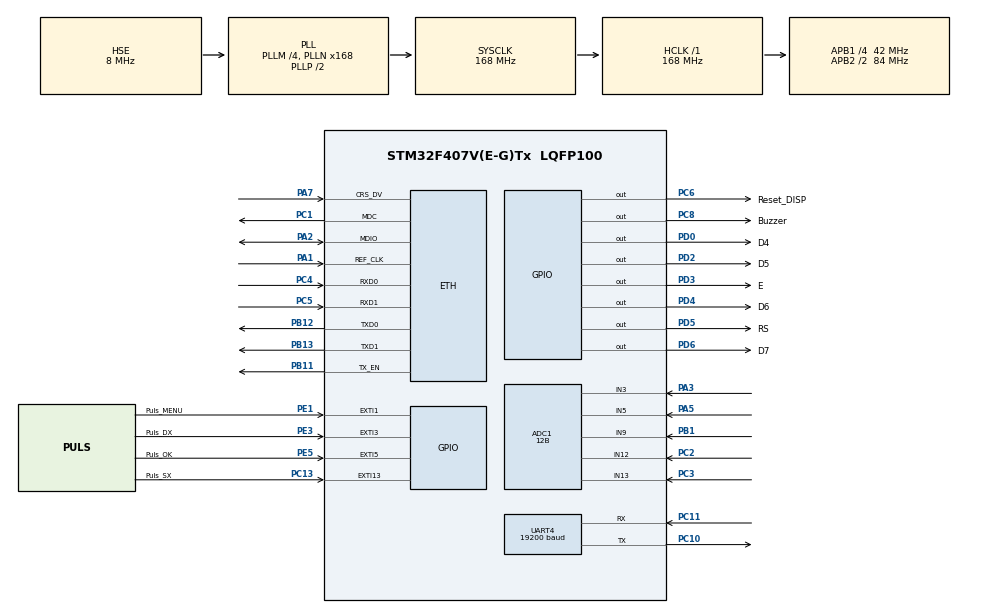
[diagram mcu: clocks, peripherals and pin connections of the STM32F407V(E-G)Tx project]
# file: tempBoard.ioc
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ADC1.Channel-0\#ChannelRegularConversion=ADC_CHANNEL_12
ADC1.Channel-1\#ChannelRegularConversion=ADC_CHANNEL_13
ADC1.Channel-2\#ChannelRegularConversion=ADC_CHANNEL_3
ADC1.Channel-3\#ChannelRegularConversion=ADC_CHANNEL_5
ADC1.Channel-4\#ChannelRegularConversion=ADC_CHANNEL_9
ADC1.ClockPrescaler=ADC_CLOCK_SYNC_PCLK_DIV4
ADC1.ContinuousConvMode=ENABLE
ADC1.DMAContinuousRequests=ENABLE
ADC1.DataAlign=ADC_DATAALIGN_RIGHT
ADC1.DiscontinuousConvMode=DISABLE
ADC1.EOCSelection=ADC_EOC_SINGLE_CONV
ADC1.EnableAnalogWatchDog=false
ADC1.ExternalTrigConv=ADC_SOFTWARE_START
ADC1.ExternalTrigConvEdge=ADC_EXTERNALTRIGCONVEDGE_NONE
ADC1.InjNumberOfConversion=0
ADC1.NbrOfConversion=5
ADC1.NbrOfConversionFlag=1
ADC1.Rank-0\#ChannelRegularConversion=1
ADC1.Rank-1\#ChannelRegularConversion=2
ADC1.Rank-2\#ChannelRegularConversion=3
ADC1.Rank-3\#ChannelRegularConversion=4
ADC1.Rank-4\#ChannelRegularConversion=5
ADC1.Resolution=ADC_RESOLUTION_12B
ADC1.SamplingTime-0\#ChannelRegularConversion=ADC_SAMPLETIME_480CYCLES
ADC1.SamplingTime-1\#ChannelRegularConversion=ADC_SAMPLETIME_480CYCLES
ADC1.SamplingTime-2\#ChannelRegularConversion=ADC_SAMPLETIME_480CYCLES
ADC1.SamplingTime-3\#ChannelRegularConversion=ADC_SAMPLETIME_480CYCLES
ADC1.SamplingTime-4\#ChannelRegularConversion=ADC_SAMPLETIME_480CYCLES
ADC1.ScanConvMode=ENABLE
ADC1.master=1
Dma.ADC1.0.Direction=DMA_PERIPH_TO_MEMORY
Dma.ADC1.0.FIFOMode=DMA_FIFOMODE_DISABLE
Dma.ADC1.0.Instance=DMA2_Stream0
Dma.ADC1.0.MemDataAlignment=DMA_MDATAALIGN_WORD
Dma.ADC1.0.MemInc=DMA_MINC_ENABLE
Dma.ADC1.0.Mode=DMA_CIRCULAR
Dma.ADC1.0.PeriphDataAlignment=DMA_PDATAALIGN_WORD
Dma.ADC1.0.PeriphInc=DMA_PINC_DISABLE
Dma.ADC1.0.Priority=DMA_PRIORITY_LOW
Dma.Request0=ADC1
ETH.MediaInterface=ETH_MEDIA_INTERFACE_RMII
LWIP.LWIP_DBG_MIN_LEVEL=LWIP_DBG_MASK_LEVEL
LWIP.LWIP_DBG_TYPES_ON=LWIP_DBG_OFF
LWIP.LWIP_HTTPD=1
LWIP.LWIP_HTTPD_SSI=1
LWIP.LWIP_HTTPD_SSI_RAW=0
LWIP.Version=v2.0.3_Cube
Mcu.Family=STM32F4
Mcu.Name=STM32F407V(E-G)Tx
Mcu.Package=LQFP100
NVIC.DMA2_Stream0_IRQn=true\:0\:0\:false\:false\:true\:false\:true
NVIC.ETH_IRQn=true\:0\:0\:false\:false\:true\:true\:true
NVIC.EXTI15_10_IRQn=true\:0\:0\:false\:true\:true\:6\:true\:true
NVIC.EXTI1_IRQn=true\:0\:0\:false\:true\:true\:3\:true\:true
NVIC.EXTI3_IRQn=true\:0\:0\:false\:true\:true\:4\:true\:true
NVIC.EXTI9_5_IRQn=true\:0\:0\:false\:true\:true\:2\:true\:true
NVIC.PriorityGroup=NVIC_PRIORITYGROUP_0
NVIC.TIM2_IRQn=true\:0\:0\:false\:true\:true\:5\:true\:true
NVIC.UART4_IRQn=true\:0\:0\:false\:true\:true\:1\:true\:true
PA1.Mode=RMII
PA1.Signal=ETH_REF_CLK
PA2.Mode=RMII
PA2.Signal=ETH_MDIO
PA3.Signal=ADCx_IN3
PA5.Signal=ADCx_IN5
PA7.Mode=RMII
PA7.Signal=ETH_CRS_DV
PB1.Signal=ADCx_IN9
PB11.Mode=RMII
PB11.Signal=ETH_TX_EN
PB12.Mode=RMII
PB12.Signal=ETH_TXD0
PB13.Mode=RMII
PB13.Signal=ETH_TXD1
PC1.Mode=RMII
PC1.Signal=ETH_MDC
PC10.Mode=Asynchronous
PC10.Signal=UART4_TX
PC11.Mode=Asynchronous
PC11.Signal=UART4_RX
PC13-ANTI_TAMP.GPIO_Label=Puls_SX
PC13-ANTI_TAMP.Signal=GPXTI13
PC2.Signal=ADCx_IN12
PC3.Signal=ADCx_IN13
PC4.Mode=RMII
PC4.Signal=ETH_RXD0
PC5.Mode=RMII
PC5.Signal=ETH_RXD1
PC6.GPIO_Label=Reset_DISP
PC6.Signal=GPIO_Output
PC8.GPIO_Label=Buzzer
PC8.Signal=GPIO_Output
PD0.GPIO_Label=D4
PD0.Signal=GPIO_Output
PD2.GPIO_Label=D5
PD2.Signal=GPIO_Output
PD3.GPIO_Label=E
PD3.Signal=GPIO_Output
PD4.GPIO_Label=D6
PD4.Signal=GPIO_Output
PD5.GPIO_Label=RS
PD5.Signal=GPIO_Output
PD6.GPIO_Label=D7
PD6.Signal=GPIO_Output
PE1.GPIO_Label=Puls_MENU
PE1.Signal=GPXTI1
PE3.GPIO_Label=Puls_DX
PE3.Signal=GPXTI3
PE5.GPIO_Label=Puls_OK
PE5.Signal=GPXTI5
PH0-OSC_IN.Mode=HSE-External-Oscillator
PH0-OSC_IN.Signal=RCC_OSC_IN
PH1-OSC_OUT.Mode=HSE-External-Oscillator
PH1-OSC_OUT.Signal=RCC_OSC_OUT
ProjectManager.HeapSize=0x200
ProjectManager.StackSize=0x400
ProjectManager.TargetToolchain=STM32CubeIDE
RCC.48MHZClocksFreq_Value=48000000
RCC.AHBFreq_Value=168000000
RCC.APB1CLKDivider=RCC_HCLK_DIV4
RCC.APB1Freq_Value=42000000
RCC.APB1TimFreq_Value=84000000
RCC.APB2CLKDivider=RCC_HCLK_DIV2
RCC.APB2Freq_Value=84000000
RCC.APB2TimFreq_Value=168000000
RCC.CortexFreq_Value=168000000
RCC.HCLKFreq_Value=168000000
RCC.HSE_VALUE=8000000
RCC.HSI_VALUE=16000000
RCC.LSE_VALUE=32768
RCC.PLLM=4
RCC.PLLN=168
RCC.PLLQ=7
RCC.PLLSourceVirtual=RCC_PLLSOURCE_HSE
RCC.SYSCLKFreq_VALUE=168000000
RCC.SYSCLKSource=RCC_SYSCLKSOURCE_PLLCLK
RCC.VCOOutputFreq_Value=336000000
SH.ADCx_IN12.0=ADC1_IN12,IN12
SH.ADCx_IN13.0=ADC1_IN13,IN13
SH.ADCx_IN3.0=ADC1_IN3,IN3
SH.ADCx_IN5.0=ADC1_IN5,IN5
SH.ADCx_IN9.0=ADC1_IN9,IN9
TIM2.Period=4999
TIM2.Prescaler=8399
UART4.BaudRate=19200
UART4.VirtualMode=Asynchronous
UART4.WordLength=WORDLENGTH_8B
VP_LWIP_VS_Enabled.Mode=Enabled
VP_TIM2_VS_ClockSourceINT.Mode=Internal
board=STM32F4DISCOVERY

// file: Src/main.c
/* USER CODE BEGIN Header */
/**
  ******************************************************************************
  * @file           : main.c
  * @brief          : Main program body
  ******************************************************************************
  * @attention
  *
  * <h2><center>&copy; Copyright (c) 2019 STMicroelectronics.
  * All rights reserved.</center></h2>
  *
  * This software component is licensed by ST under BSD 3-Clause license,
  * the "License"; You may not use this file except in compliance with the
  * License. You may obtain a copy of the License at:
  *                        opensource.org/licenses/BSD-3-Clause
  *
  ******************************************************************************
  */
/* USER CODE END Header */

#include "main.h"
#include "stm32f4xx_hal.h"
#include "lwip.h"

/* USER CODE BEGIN Includes */
#include <string.h>
#include "lwip/apps/httpd.h"
#include "LCD.h"

#define NUM_SENSORS (5)
#define CRITICAL_TEMP_DEFAULT (27)
#define CRITICAL_TEMP_MAX (40)
#define CRITICAL_TEMP_MIN (25)
#define TIMES_ARRAY_DIM (25)
#define NUM_SENSORS_MAX (NUM_SENSORS-1)
#define TIMES_ARRAY_DIM_MAX (TIMES_ARRAY_DIM-1)
#define UART_REFRESH_TIME_DEFAULT (5)

#define SX      (4)
#define DX      (8)
#define OK      (16)
#define MENU    (1)
#define IMP     (2)
#define ALARM   (32)
#define CRIT    (64)
#define MENUSX  (SX+MENU)
#define MENUDX  (DX+MENU)
#define MENUOK  (OK+MENU)
#define IMPSX   (SX+IMP)
#define IMPDX   (DX+IMP)
#define IMPOK   (OK+IMP)
#define CRITSX  (SX+CRIT)
#define CRITDX  (DX+CRIT)
#define CRITOK  (OK+CRIT)
#define ALARMOK (OK+ALARM)

#define MAINPAGE (0)
#define MENUPAGE (1)
#define UARTPAGE (2)
#define CRITPAGE (3)

#define GRADO (0xDF)
#define FRECCIA_DESTRA (0x7E)

/* USER CODE END Includes */

ADC_HandleTypeDef hadc1;
DMA_HandleTypeDef hdma_adc1;

TIM_HandleTypeDef htim2;

UART_HandleTypeDef huart4;

/* USER CODE BEGIN PV */
/* Private variables ---------------------------------------------------------*/
volatile uint8_t UARTready=0;
volatile uint8_t halfSec;
volatile uint8_t premuto;
volatile uint8_t tasto;
volatile uint32_t ADCVal[NUM_SENSORS];
uint32_t ADCValBuffer[NUM_SENSORS];
float temp[NUM_SENSORS];
const  char* tagSSI[NUM_SENSORS] = { "t1", "t2", "t3", "t4", "t5" };

/* USER CODE END PV */

void SystemClock_Config(void);
static void MX_GPIO_Init(void);
static void MX_DMA_Init(void);
static void MX_UART4_Init(void);
static void MX_TIM2_Init(void);
static void MX_ADC1_Init(void);
static void MX_NVIC_Init(void);

/* USER CODE BEGIN PFP */
/* Private function prototypes -----------------------------------------------*/

/* USER CODE END PFP */

/* USER CODE BEGIN 0 */

uint16_t handlerSSI(int iIndex, char *pcInsert, int iInsertLen){
    switch(iIndex){
      case 0:
        sprintf(pcInsert,"%.0f",temp[0]);
        return strlen(pcInsert);
      case 1:
        sprintf(pcInsert,"%.0f",temp[1]);
        return strlen(pcInsert);
      case 2:
        sprintf(pcInsert,"%.0f",temp[2]);
        return strlen(pcInsert);
      case 3:
        sprintf(pcInsert,"%.0f",temp[3]);
        return strlen(pcInsert);
      case 4:
        sprintf(pcInsert,"%.0f",temp[4]);
        return strlen(pcInsert);
      default:
        return 0;
    }
}

void initSSI(void){
    http_set_ssi_handler(handlerSSI, (const char**) tagSSI, NUM_SENSORS);
}

/* USER CODE END 0 */

int main(void)
{
  /* USER CODE BEGIN 1 */

  // COSTANTI

  const uint8_t times[TIMES_ARRAY_DIM] = {1,2,5,10,15,20,25,30,35,40,45,50,55,60,65,70,75,80,85,90,95,100,150,200,250};

  // VARIABILI

  char stringTemp[9]="00001000\0";
  uint8_t selImpostazioni=UARTPAGE;
  uint8_t sel_index=0;
  uint8_t zoneNumber=0;
  uint8_t secElapsed=0;
  uint8_t secElapsedOld=0;
  uint8_t halfSecOld=0;
  uint8_t isTimeToSendToUART=0;
  uint8_t UARTtime=UART_REFRESH_TIME_DEFAULT;
  uint8_t pagina=0;
  uint8_t numPagina=0;
  uint8_t inMenu=0;
  uint8_t inImp=0;
  uint8_t inAlarm=0;
  uint8_t inCrit=0;
  uint8_t silenzia=0;
  uint8_t sendRefreshTime=UART_REFRESH_TIME_DEFAULT;
  uint8_t times_index=2;
  uint8_t new_times_index=2;
  uint8_t criticalTemp=CRITICAL_TEMP_DEFAULT;
  uint8_t critTempBuf=CRITICAL_TEMP_DEFAULT;

  /* USER CODE END 1 */

  /* MCU Configuration----------------------------------------------------------*/

  /* Reset of all peripherals, Initializes the Flash interface and the Systick. */
  HAL_Init();

  /* Configure the system clock */
  SystemClock_Config();

  /* Initialize all configured peripherals */
  MX_GPIO_Init();
  MX_DMA_Init();
  MX_UART4_Init();
  MX_TIM2_Init();
  MX_LWIP_Init();
  MX_ADC1_Init();

  /* Initialize interrupts */
  MX_NVIC_Init();
  /* USER CODE BEGIN 2 */

  HAL_TIM_Base_Start_IT(&htim2);
  HAL_ADC_Start_DMA(&hadc1,ADCValBuffer,NUM_SENSORS);
  httpd_init();
  initSSI();

  // Resetto il display a 7 segmenti
  HAL_GPIO_WritePin(GPIOC, Reset_DISP_Pin, GPIO_PIN_SET);
  HAL_Delay(1000);
  HAL_GPIO_WritePin(GPIOC, Reset_DISP_Pin, GPIO_PIN_RESET);

  lcd.GPIOx=GPIOD;
  lcd.D4 = 0;
  lcd.D5 = 2;
  lcd.D6 = 4;
  lcd.D7 = 6;
  lcd.E  = 3;
  lcd.RS = 5;

  LCD_Init(DUAL_ROW,NORMAL_FONT,TEXT_LEFT_TO_RIGHT,TEXT_SHIFT_NO);
  LCD_curMode(CURSOR_OFF,BLINK_OFF);
  LCD_curSetHome();

  /* USER CODE END 2 */

  /* Infinite loop */
  /* USER CODE BEGIN WHILE */
  while (1)
  {

      MX_LWIP_Process();

      secElapsed = halfSec&1 ? secElapsed : halfSec>>1;

      if(secElapsedOld!=secElapsed){

          secElapsedOld=secElapsed;
          isTimeToSendToUART++;

          if(isTimeToSendToUART==UARTtime){

                // INVIO TRAMITE UART

                isTimeToSendToUART=0;

                sprintf(stringTemp,"00%03d%03d",zoneNumber+1,(uint8_t)temp[zoneNumber]);
                uint8_t i=0;
                while(stringTemp[i]!=0){
                  HAL_UART_Transmit_IT(&huart4, (uint8_t*)&stringTemp[i], 1);
                  while(!UARTready);
                  UARTready=0;
                  HAL_Delay(2);
                  i++;
                }

                zoneNumber++;
                zoneNumber%=NUM_SENSORS;
          }

      }

      if(halfSec!=halfSecOld){
          halfSecOld=halfSec;

          for(int i=0; i<NUM_SENSORS; i++){
              temp[i]=ADCVal[i]/40.95;
          }

          sel_index=selImpostazioni-2;

          // GESTIONE PULSANTI

          if(premuto){
              premuto=0;
              switch(tasto | inMenu | inImp | inCrit | inAlarm){
                case (SX):
                  numPagina--;
                  if(numPagina>NUM_SENSORS) numPagina=NUM_SENSORS_MAX;
                  break;
                case (DX):
                  numPagina++;
                  numPagina%=(NUM_SENSORS);
                  break;
                case (MENU):
                  pagina^=MENUPAGE; //fa il toggle della pagina in modo che appena si preme menu si torna alla pagina iniziale
                  break;
                case (MENUSX):
                  selImpostazioni--;
                  if(selImpostazioni<UARTPAGE) selImpostazioni=CRITPAGE;
                  break;
                case (MENUDX):
                  selImpostazioni++;
                  if(selImpostazioni>CRITPAGE) selImpostazioni=UARTPAGE;
                  break;
                case (MENUOK):
                  pagina=selImpostazioni;
                  break;
                case (IMPSX):
                  times_index--;
                  if(times_index>TIMES_ARRAY_DIM) times_index=TIMES_ARRAY_DIM_MAX;
                  sendRefreshTime=times[times_index];
                  break;
                case (IMPDX):
                  times_index++;
                  times_index%=TIMES_ARRAY_DIM;
                  sendRefreshTime=times[times_index];
                  break;
                case (IMPOK):
                  pagina=MAINPAGE;
                  UARTtime=sendRefreshTime;
                  new_times_index=times_index;
                  isTimeToSendToUART=0;
                  break;
                case (CRITSX):
                  critTempBuf--;
                  if(critTempBuf<CRITICAL_TEMP_MIN) critTempBuf=CRITICAL_TEMP_MAX;
                  break;
                case (CRITDX):
                  critTempBuf++;
                  if(critTempBuf>CRITICAL_TEMP_MAX) critTempBuf=CRITICAL_TEMP_MIN;
                  break;
                case (CRITOK):
                  pagina=MAINPAGE;
                  criticalTemp=critTempBuf;
                  break;
                case (ALARMOK):
                  silenzia=1;
                  break;
                case (OK):
                default:
                  pagina=MAINPAGE;
                  break;
              }
          }

          // GESTIONE SCHERMATE

          switch(pagina){
            case MAINPAGE:
              inMenu=0;
              inImp=0;
              inCrit=0;
              selImpostazioni=UARTPAGE;
              sendRefreshTime=UARTtime;
              critTempBuf=criticalTemp;
              times_index=new_times_index;
              LCD_printf("Zona %d          Temp. %.0f%cC      ",(numPagina+1),temp[numPagina],GRADO);
              break;
            case MENUPAGE:
              inMenu=MENU;
              inImp=0;
              inCrit=0;
              LCD_curSetHome();
              LCD_print("Impostazioni");
              LCD_curSet(1,1);
              LCD_print("UART");
              LCD_curSet(1,7);
              LCD_print("T.critica");
              LCD_curSet(1,(!sel_index)*6);
              LCD_putch(' ');
              LCD_curSet(1,(sel_index)*6);
              LCD_putch(FRECCIA_DESTRA);
              break;
            case UARTPAGE:
              inMenu=0;
              inImp=IMP;
              inCrit=0;
              LCD_printf("UART: Aggiorna  ogni %d secondi   ",sendRefreshTime);
              break;
            case CRITPAGE:
              inMenu=0;
              inImp=0;
              inCrit=CRIT;
              LCD_printf("Temperatura     critica: %d%cC   ",critTempBuf,GRADO);
              break;
          }
      }

      if(temp[0]>=criticalTemp || temp[1]>=criticalTemp || temp[2]>=criticalTemp ||
         temp[3]>=criticalTemp || temp[4]>=criticalTemp){
             if(!silenzia){
                 inAlarm=ALARM;
                 HAL_GPIO_WritePin(GPIOC, Buzzer_Pin, GPIO_PIN_SET);
             }else{
                 inAlarm=0;
                 HAL_GPIO_WritePin(GPIOC, Buzzer_Pin, GPIO_PIN_RESET);
             }
      }else{
         inAlarm=0;
         silenzia=0;
         HAL_GPIO_WritePin(GPIOC, Buzzer_Pin, GPIO_PIN_RESET);
      }

  /* USER CODE END WHILE */

  }

}

void SystemClock_Config(void)
{
  RCC_OscInitTypeDef RCC_OscInitStruct = {0};
  RCC_ClkInitTypeDef RCC_ClkInitStruct = {0};

  /** Configure the main internal regulator output voltage
  */
  __HAL_RCC_PWR_CLK_ENABLE();
  __HAL_PWR_VOLTAGESCALING_CONFIG(PWR_REGULATOR_VOLTAGE_SCALE1);
  /** Initializes the CPU, AHB and APB busses clocks
  */
  RCC_OscInitStruct.OscillatorType = RCC_OSCILLATORTYPE_HSE;
  RCC_OscInitStruct.HSEState = RCC_HSE_ON;
  RCC_OscInitStruct.PLL.PLLState = RCC_PLL_ON;
  RCC_OscInitStruct.PLL.PLLSource = RCC_PLLSOURCE_HSE;
  RCC_OscInitStruct.PLL.PLLM = 4;
  RCC_OscInitStruct.PLL.PLLN = 168;
  RCC_OscInitStruct.PLL.PLLP = RCC_PLLP_DIV2;
  RCC_OscInitStruct.PLL.PLLQ = 7;
  if (HAL_RCC_OscConfig(&RCC_OscInitStruct) != HAL_OK)
  {
    Error_Handler();
  }
  /** Initializes the CPU, AHB and APB busses clocks
  */
  RCC_ClkInitStruct.ClockType = RCC_CLOCKTYPE_HCLK|RCC_CLOCKTYPE_SYSCLK
                              |RCC_CLOCKTYPE_PCLK1|RCC_CLOCKTYPE_PCLK2;
  RCC_ClkInitStruct.SYSCLKSource = RCC_SYSCLKSOURCE_PLLCLK;
  RCC_ClkInitStruct.AHBCLKDivider = RCC_SYSCLK_DIV1;
  RCC_ClkInitStruct.APB1CLKDivider = RCC_HCLK_DIV4;
  RCC_ClkInitStruct.APB2CLKDivider = RCC_HCLK_DIV2;

  if (HAL_RCC_ClockConfig(&RCC_ClkInitStruct, FLASH_LATENCY_5) != HAL_OK)
  {
    Error_Handler();
  }
}

/**
  * @brief NVIC Configuration.
  * @retval None
  */
static void MX_NVIC_Init(void)
{
  /* UART4_IRQn interrupt configuration */
  HAL_NVIC_SetPriority(UART4_IRQn, 0, 0);
  HAL_NVIC_EnableIRQ(UART4_IRQn);
  /* EXTI9_5_IRQn interrupt configuration */
  HAL_NVIC_SetPriority(EXTI9_5_IRQn, 0, 0);
  HAL_NVIC_EnableIRQ(EXTI9_5_IRQn);
  /* EXTI1_IRQn interrupt configuration */
  HAL_NVIC_SetPriority(EXTI1_IRQn, 0, 0);
  HAL_NVIC_EnableIRQ(EXTI1_IRQn);
  /* EXTI3_IRQn interrupt configuration */
  HAL_NVIC_SetPriority(EXTI3_IRQn, 0, 0);
  HAL_NVIC_EnableIRQ(EXTI3_IRQn);
  /* TIM2_IRQn interrupt configuration */
  HAL_NVIC_SetPriority(TIM2_IRQn, 0, 0);
  HAL_NVIC_EnableIRQ(TIM2_IRQn);
  /* EXTI15_10_IRQn interrupt configuration */
  HAL_NVIC_SetPriority(EXTI15_10_IRQn, 0, 0);
  HAL_NVIC_EnableIRQ(EXTI15_10_IRQn);
}

static void MX_ADC1_Init(void)
{

  ADC_ChannelConfTypeDef sConfig = {0};

  /** Configure the global features of the ADC (Clock, Resolution, Data Alignment and number of conversion)
  */
  hadc1.Instance = ADC1;
  hadc1.Init.ClockPrescaler = ADC_CLOCK_SYNC_PCLK_DIV4;
  hadc1.Init.Resolution = ADC_RESOLUTION_12B;
  hadc1.Init.ScanConvMode = ENABLE;
  hadc1.Init.ContinuousConvMode = ENABLE;
  hadc1.Init.DiscontinuousConvMode = DISABLE;
  hadc1.Init.ExternalTrigConvEdge = ADC_EXTERNALTRIGCONVEDGE_NONE;
  hadc1.Init.ExternalTrigConv = ADC_SOFTWARE_START;
  hadc1.Init.DataAlign = ADC_DATAALIGN_RIGHT;
  hadc1.Init.NbrOfConversion = 5;
  hadc1.Init.DMAContinuousRequests = ENABLE;
  hadc1.Init.EOCSelection = ADC_EOC_SINGLE_CONV;
  if (HAL_ADC_Init(&hadc1) != HAL_OK)
  {
    Error_Handler();
  }
  /** Configure for the selected ADC regular channel its corresponding rank in the sequencer and its sample time.
  */
  sConfig.Channel = ADC_CHANNEL_12;
  sConfig.Rank = 1;
  sConfig.SamplingTime = ADC_SAMPLETIME_480CYCLES;
  if (HAL_ADC_ConfigChannel(&hadc1, &sConfig) != HAL_OK)
  {
    Error_Handler();
  }
  /** Configure for the selected ADC regular channel its corresponding rank in the sequencer and its sample time.
  */
  sConfig.Channel = ADC_CHANNEL_13;
  sConfig.Rank = 2;
  if (HAL_ADC_ConfigChannel(&hadc1, &sConfig) != HAL_OK)
  {
    Error_Handler();
  }
  /** Configure for the selected ADC regular channel its corresponding rank in the sequencer and its sample time.
  */
  sConfig.Channel = ADC_CHANNEL_3;
  sConfig.Rank = 3;
  if (HAL_ADC_ConfigChannel(&hadc1, &sConfig) != HAL_OK)
  {
    Error_Handler();
  }
  /** Configure for the selected ADC regular channel its corresponding rank in the sequencer and its sample time.
  */
  sConfig.Channel = ADC_CHANNEL_5;
  sConfig.Rank = 4;
  if (HAL_ADC_ConfigChannel(&hadc1, &sConfig) != HAL_OK)
  {
    Error_Handler();
  }
  /** Configure for the selected ADC regular channel its corresponding rank in the sequencer and its sample time.
  */
  sConfig.Channel = ADC_CHANNEL_9;
  sConfig.Rank = 5;
  if (HAL_ADC_ConfigChannel(&hadc1, &sConfig) != HAL_OK)
  {
    Error_Handler();
  }

}

static void MX_TIM2_Init(void)
{

  TIM_ClockConfigTypeDef sClockSourceConfig = {0};
  TIM_MasterConfigTypeDef sMasterConfig = {0};

  htim2.Instance = TIM2;
  htim2.Init.Prescaler = 8399;
  htim2.Init.CounterMode = TIM_COUNTERMODE_UP;
  htim2.Init.Period = 4999;
  htim2.Init.ClockDivision = TIM_CLOCKDIVISION_DIV1;
  htim2.Init.AutoReloadPreload = TIM_AUTORELOAD_PRELOAD_DISABLE;
  if (HAL_TIM_Base_Init(&htim2) != HAL_OK)
  {
    Error_Handler();
  }
  sClockSourceConfig.ClockSource = TIM_CLOCKSOURCE_INTERNAL;
  if (HAL_TIM_ConfigClockSource(&htim2, &sClockSourceConfig) != HAL_OK)
  {
    Error_Handler();
  }
  sMasterConfig.MasterOutputTrigger = TIM_TRGO_RESET;
  sMasterConfig.MasterSlaveMode = TIM_MASTERSLAVEMODE_DISABLE;
  if (HAL_TIMEx_MasterConfigSynchronization(&htim2, &sMasterConfig) != HAL_OK)
  {
    Error_Handler();
  }

}

static void MX_UART4_Init(void)
{

  huart4.Instance = UART4;
  huart4.Init.BaudRate = 19200;
  huart4.Init.WordLength = UART_WORDLENGTH_8B;
  huart4.Init.StopBits = UART_STOPBITS_1;
  huart4.Init.Parity = UART_PARITY_NONE;
  huart4.Init.Mode = UART_MODE_TX_RX;
  huart4.Init.HwFlowCtl = UART_HWCONTROL_NONE;
  huart4.Init.OverSampling = UART_OVERSAMPLING_16;
  if (HAL_UART_Init(&huart4) != HAL_OK)
  {
    Error_Handler();
  }

}

static void MX_DMA_Init(void)
{

  /* DMA controller clock enable */
  __HAL_RCC_DMA2_CLK_ENABLE();

  /* DMA interrupt init */
  /* DMA2_Stream0_IRQn interrupt configuration */
  HAL_NVIC_SetPriority(DMA2_Stream0_IRQn, 0, 0);
  HAL_NVIC_EnableIRQ(DMA2_Stream0_IRQn);

}

static void MX_GPIO_Init(void)
{
  GPIO_InitTypeDef GPIO_InitStruct = {0};

  /* GPIO Ports Clock Enable */
  __HAL_RCC_GPIOE_CLK_ENABLE();
  __HAL_RCC_GPIOC_CLK_ENABLE();
  __HAL_RCC_GPIOH_CLK_ENABLE();
  __HAL_RCC_GPIOA_CLK_ENABLE();
  __HAL_RCC_GPIOB_CLK_ENABLE();
  __HAL_RCC_GPIOD_CLK_ENABLE();

  /*Configure GPIO pin Output Level */
  HAL_GPIO_WritePin(GPIOC, Reset_DISP_Pin|Buzzer_Pin, GPIO_PIN_RESET);

  /*Configure GPIO pin Output Level */
  HAL_GPIO_WritePin(GPIOD, D4_Pin|D5_Pin|E_Pin|D6_Pin
                          |RS_Pin|D7_Pin, GPIO_PIN_RESET);

  /*Configure GPIO pins : Puls_DX_Pin Puls_OK_Pin Puls_MENU_Pin */
  GPIO_InitStruct.Pin = Puls_DX_Pin|Puls_OK_Pin|Puls_MENU_Pin;
  GPIO_InitStruct.Mode = GPIO_MODE_IT_RISING_FALLING;
  GPIO_InitStruct.Pull = GPIO_NOPULL;
  HAL_GPIO_Init(GPIOE, &GPIO_InitStruct);

  /*Configure GPIO pin : Puls_SX_Pin */
  GPIO_InitStruct.Pin = Puls_SX_Pin;
  GPIO_InitStruct.Mode = GPIO_MODE_IT_RISING_FALLING;
  GPIO_InitStruct.Pull = GPIO_NOPULL;
  HAL_GPIO_Init(Puls_SX_GPIO_Port, &GPIO_InitStruct);

  /*Configure GPIO pins : Reset_DISP_Pin Buzzer_Pin */
  GPIO_InitStruct.Pin = Reset_DISP_Pin|Buzzer_Pin;
  GPIO_InitStruct.Mode = GPIO_MODE_OUTPUT_PP;
  GPIO_InitStruct.Pull = GPIO_NOPULL;
  GPIO_InitStruct.Speed = GPIO_SPEED_FREQ_LOW;
  HAL_GPIO_Init(GPIOC, &GPIO_InitStruct);

  /*Configure GPIO pins : D4_Pin D5_Pin E_Pin D6_Pin
                           RS_Pin D7_Pin */
  GPIO_InitStruct.Pin = D4_Pin|D5_Pin|E_Pin|D6_Pin
                          |RS_Pin|D7_Pin;
  GPIO_InitStruct.Mode = GPIO_MODE_OUTPUT_PP;
  GPIO_InitStruct.Pull = GPIO_NOPULL;
  GPIO_InitStruct.Speed = GPIO_SPEED_FREQ_LOW;
  HAL_GPIO_Init(GPIOD, &GPIO_InitStruct);

}

void Error_Handler(void)
{
}

/************************ (C) COPYRIGHT STMicroelectronics *****END OF FILE****/
